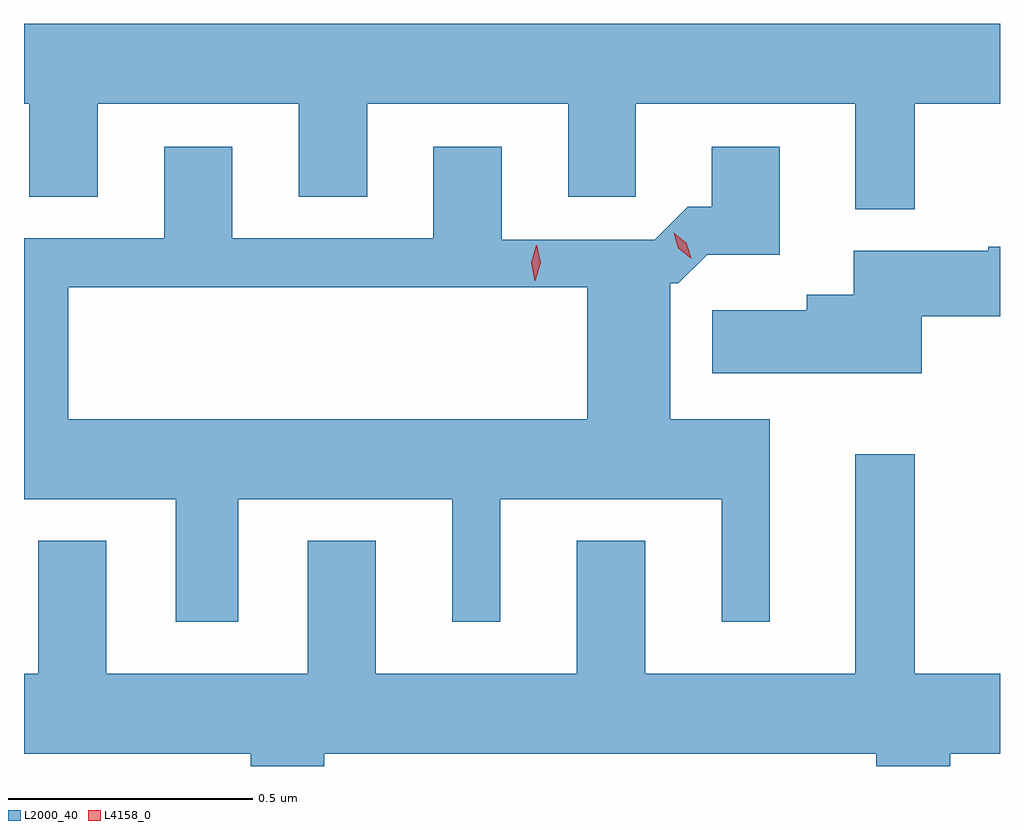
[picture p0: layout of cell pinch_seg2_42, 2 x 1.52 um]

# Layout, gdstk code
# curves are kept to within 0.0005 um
import gdstk
lib = gdstk.Library(unit=1e-6, precision=1e-09)
def P(c, l, *ps):  # polygons
    for p in ps: c.add(gdstk.Polygon(p, *l))
L2000_40 = (2000, 40)
L4158_0 = (4158, 0)

pinch_seg2_42 = lib.new_cell('pinch_seg2_42')
P(pinch_seg2_42, L2000_40, [(1121.845,656.96),(1122.02,656.96),(1122.02,657.124),(1120.02,657.124),(1120.02,656.96),(1120.031,656.96),(1120.031,656.77),(1120.171,656.77),(1120.171,656.96),(1120.583,656.96),(1120.583,656.77),(1120.723,656.77),(1120.723,656.96),(1121.135,656.96),(1121.135,656.77),(1121.274,656.77),(1121.274,656.96),(1121.723,656.96),(1121.723,656.744),(1121.845,656.744)],
  [(1120.331,656.15),(1120.331,655.899),(1120.459,655.899),(1120.459,656.15),(1120.898,656.15),(1120.898,655.899),(1120.996,655.899),(1120.996,656.15),(1121.45,656.15),(1121.45,655.899),(1121.548,655.899),(1121.548,656.314),(1121.344,656.314),(1121.344,656.592),(1121.361,656.592),(1121.42,656.651),(1121.569,656.651),(1121.569,656.872),(1121.429,656.872),(1121.429,656.749),(1121.38,656.749),(1121.313,656.682),(1120.999,656.682),(1120.999,656.872),(1120.859,656.872),(1120.859,656.685),(1120.447,656.685),(1120.447,656.872),(1120.307,656.872),(1120.307,656.685),(1120.02,656.685),(1120.02,656.314),(1120.111,656.314),(1120.111,656.584),(1121.174,656.584),(1121.174,656.314),(1120.02,656.314),(1120.02,656.15)],
  [(1121.86,656.525),(1122.02,656.525),(1122.02,656.667),(1121.996,656.667),(1121.996,656.659),(1121.72,656.659),(1121.72,656.569),(1121.624,656.569),(1121.624,656.537),(1121.43,656.537),(1121.43,656.408),(1121.86,656.408)],
  [(1120.189,656.065),(1120.049,656.065),(1120.049,655.792),(1120.02,655.792),(1120.02,655.628),(1120.485,655.628),(1120.485,655.603),(1120.635,655.603),(1120.635,655.628),(1121.766,655.628),(1121.766,655.603),(1121.918,655.603),(1121.918,655.628),(1122.02,655.628),(1122.02,655.792),(1121.845,655.792),(1121.845,656.242),(1121.723,656.242),(1121.723,655.792),(1121.293,655.792),(1121.293,656.065),(1121.153,656.065),(1121.153,655.792),(1120.741,655.792),(1120.741,656.065),(1120.601,656.065),(1120.601,655.792),(1120.189,655.792)])
P(pinch_seg2_42, L4158_0, [(1121.386,656.644),(1121.361,656.664),(1121.351,656.696),(1121.351,656.696),(1121.351,656.696),(1121.377,656.676),(1121.387,656.644),(1121.387,656.644)],
  [(1121.067,656.598),(1121.067,656.598),(1121.059,656.635),(1121.07,656.67),(1121.07,656.67),(1121.071,656.67),(1121.079,656.634),(1121.068,656.598)])

lib.write_gds('pinch_seg2_42.gds')
